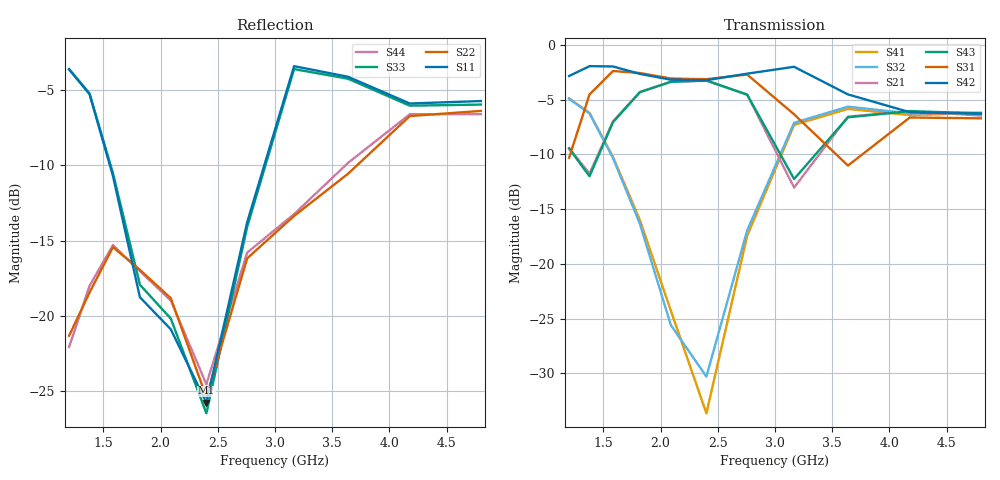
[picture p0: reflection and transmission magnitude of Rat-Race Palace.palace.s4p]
! Generated by circuitRF - EM: Palace
! circuitRF-EM setup: Rat-Race Palace
! circuitRF-EM layout: Rat-Race.c3d
! circuitRF-EM written: 2026-11-15 23:06:50Z
! circuitRF-EM stamp: 20261115T230650Z-70d48242
! circuitRF-EM geometry: 5ec69c1afac7d1f5
! circuitRF-EM mesh settings: 080ce14e84f767f4
! circuitRF-EM ports: 02a938ecda0cf30f
! circuitRF-EM model: Palace 0.18.1 (0dc74cd, schema 1-7-0)
! Port[1] = P1
! Port[2] = P2
! Port[3] = P3
! Port[4] = P4
! circuitRF-EM port 1: 'port/1' from 'U1/Bottom Copper (1 oz)/1' to 'U1/Top Copper (1 oz)/1', lumped, 50 Ohm
! circuitRF-EM port 2: 'port/2' from 'U1/Bottom Copper (1 oz)/1' to 'U1/Top Copper (1 oz)/1', lumped, 50 Ohm
! circuitRF-EM port 3: 'port/3' from 'U1/Bottom Copper (1 oz)/1' to 'U1/Top Copper (1 oz)/1', lumped, 50 Ohm
! circuitRF-EM port 4: 'port/4' from 'U1/Bottom Copper (1 oz)/1' to 'U1/Top Copper (1 oz)/1', lumped, 50 Ohm
! Port 1 = P01  P1  net=?  ref=U1/Bottom Copper (1 oz)/1  uncalibrated
! Port 2 = P02  P2  net=?  ref=U1/Bottom Copper (1 oz)/1  uncalibrated
! Port 3 = P03  P3  net=?  ref=U1/Bottom Copper (1 oz)/1  uncalibrated
! Port 4 = P04  P4  net=?  ref=U1/Bottom Copper (1 oz)/1  uncalibrated
! DC: none, the lowest row is 1.2 GHz; a circuit's DC solve through this file takes that row as DC
! circuitRF-EM 3D mesh: 103,776 elements initially, 314,861 finally, 2 adaptive pass(es), element order 1
! circuitRF-EM 3D operating temperature: 20 C
! circuitRF-EM 3D run: preset Draft; 103776 -> 314861 tetrahedra; 313090 unknowns; 2 refinement pass(es); 4 frequency sample(s)
! circuitRF-EM 3D run cost: wall 751 s; Palace peak memory 8.3 GB
! circuitRF-EM: re-running the EM setup rewrites this file. If circuitRF reports it as stale, the layout's cross-section changed after this file was written.
# GHz S RI R 50
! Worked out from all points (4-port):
!   11 points, 1.2 GHz to 4.8 GHz, reference 50 ohm
!   strongest paths, dB at 1.2 GHz, 1.583 GHz, 2.4 GHz, 3.638 GHz, 4.8 GHz:
!     S42: -2.8, -2.0, -3.2, -4.5, -6.3
!     S31: -10.3, -2.4, -3.1, -11.0, -6.7
!     S43: -9.5, -7.1, -3.2, -6.6, -6.2
!     S21: -9.4, -7.0, -3.2, -6.5, -6.4
!     S32: -4.9, -10.3, -30.3, -5.6, -6.2
!     S41: -4.9, -10.2, -33.6, -5.8, -6.2
!   lowest |S11| = -25.7 dB at 2.4 GHz (marker M1), VSWR 1.11, Z = 50.7 + j5.16 ohm
!   |S11| at or under -10 dB: 1.556 GHz to 2.906 GHz (1.35 GHz wide, 60.5 % of centre)
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1.2  0.1505 0.6398  -0.000269 -0.3384  0.2818 -0.1188  -0.567 -0.0616
     -0.000269 -0.3384  0.00321 0.086  -0.5644 -0.0616  -0.6629 -0.2858
     0.2818 -0.1188  -0.5644 -0.0616  0.1589 0.6396  -0.0102 -0.3362
     -0.567 -0.0616  -0.6629 -0.2858  -0.0102 -0.3362  -0.00296 0.079
1.81886  -0.0163 -0.1143  -0.0784 -0.6055  -0.2331 -0.7076  0.0442 0.1522
         -0.0784 -0.6055  -0.0745 0.1212  0.0464 0.1451  -0.0831 0.7333
         -0.2331 -0.7076  0.0464 0.1451  -0.0244 -0.1247  -0.0834 -0.6031
         0.0442 0.1522  -0.0831 0.7333  -0.0834 -0.6031  -0.0767 0.1182
2.4  0.00935 0.0508  -0.655 -0.2114  -0.6557 -0.2393  -0.0205 -0.00342
     -0.655 -0.2114  -0.0346 0.0412  -0.0301 -0.00546  0.668 0.176
     -0.6557 -0.2393  -0.0301 -0.00546  0.000847 0.0476  -0.6578 -0.2026
     -0.0205 -0.00342  0.668 0.176  -0.6578 -0.2026  -0.0452 0.0386
3.166819  -0.6315 -0.2347  -0.1734 0.1406  -0.0929 0.4735  -0.0275 0.4307
          -0.1734 0.1406  -0.16 0.1433  -0.0344 0.4399  -0.2378 -0.759
          -0.0929 0.4735  -0.0344 0.4399  -0.6222 -0.2165  -0.1859 0.1585
          -0.0275 0.4307  -0.2378 -0.759  -0.1859 0.1585  -0.1717 0.1339
3.63772  -0.3863 0.4868  -0.3336 0.3325  -0.2085 0.189  0.5108 0.0073
         -0.3336 0.3325  -0.2618 0.1385  0.5228 0.0172  -0.5943 0.023
         -0.2085 0.189  0.5228 0.0172  -0.3781 0.4816  -0.3112 0.3489
         0.5108 0.0073  -0.5943 0.023  -0.3112 0.3489  -0.2756 0.166
4.178643  -0.0224 0.5062  0.00391 0.4991  -0.0492 0.464  0.1284 -0.4612
          0.00391 0.4991  -0.1271 0.4424  0.1402 -0.4665  -0.1557 0.4681
          -0.0492 0.464  0.1402 -0.4665  -0.0156 0.4981  0.0241 0.4982
          0.1284 -0.4612  -0.1557 0.4681  0.0241 0.4982  -0.0994 0.456
4.8  0.2914 0.4262  0.3304 0.3427  0.338 0.3156  -0.4307 -0.2323
     0.3304 0.3427  0.3211 0.3551  -0.4303 -0.2366  0.4074 0.2639
     0.338 0.3156  -0.4303 -0.2366  0.2938 0.4077  0.3543 0.3349
     -0.4307 -0.2323  0.4074 0.2639  0.3543 0.3349  0.3259 0.3338
